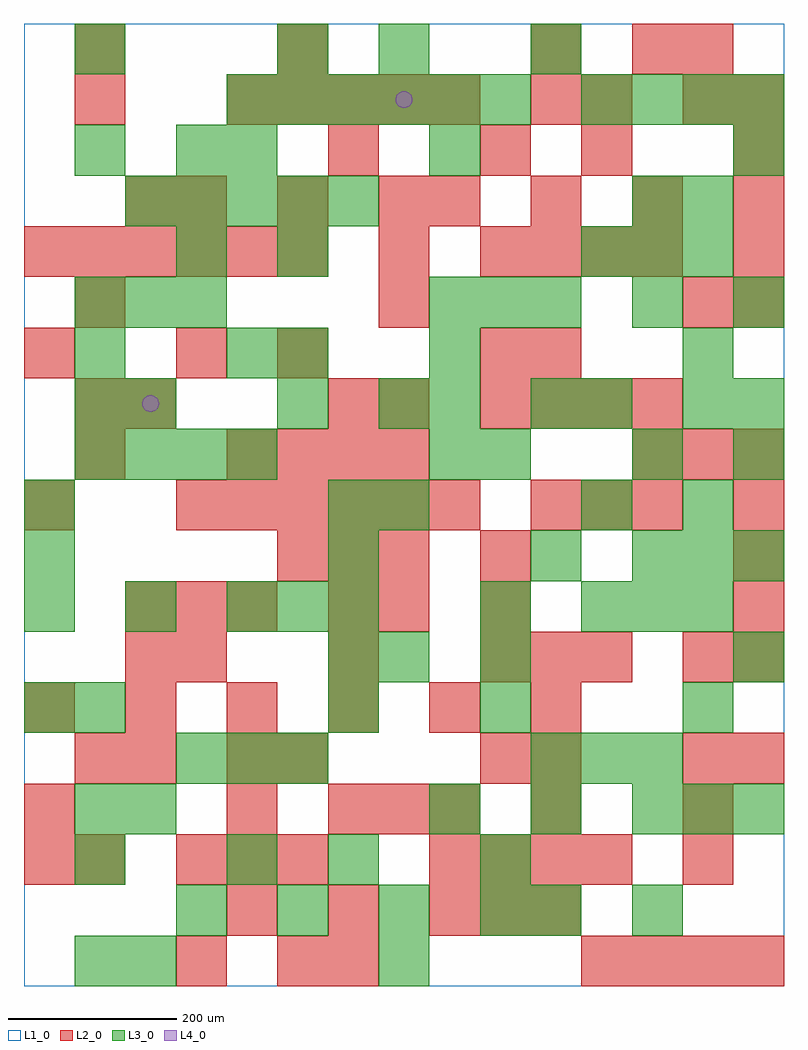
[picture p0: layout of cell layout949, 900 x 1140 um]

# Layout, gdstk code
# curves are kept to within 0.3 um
import gdstk
lib = gdstk.Library(unit=1e-6, precision=1e-09)
def R(c, l, rs):  # rectangles x0, y0, x1, y1
    for r in rs: c.add(gdstk.rectangle(r[:2], r[2:], *l))
def A(c, l, x, y, w, h, nx, ny, dx, dy):  # array of equal rectangles
    R(c, l, [(x+i*dx, y+j*dy, x+i*dx+w, y+j*dy+h) for i in range(nx) for j in range(ny)])
def P(c, l, *ps):  # polygons
    for p in ps: c.add(gdstk.Polygon(p, *l))
L1_0 = (1, 0)
L2_0 = (2, 0)
L3_0 = (3, 0)
L4_0 = (4, 0)

layout949 = lib.new_cell('layout949')
R(layout949, L1_0, [(0,0,900,1140)])
A(layout949, L2_0, 660, 0, 60, 60, 4, 1, 60, 0)
A(layout949, L2_0, 240, 60, 60, 60, 3, 1, 120, 0)
A(layout949, L2_0, 540, 60, 60, 60, 1, 3, 0, 180)
A(layout949, L2_0, 180, 120, 60, 60, 3, 1, 60, 0)
A(layout949, L2_0, 480, 120, 60, 60, 4, 1, 60, 0)
A(layout949, L2_0, 780, 120, 60, 60, 1, 3, 0, 60)
A(layout949, L2_0, 360, 180, 60, 60, 3, 1, 60, 0)
A(layout949, L2_0, 0, 300, 60, 60, 6, 1, 120, 0)
A(layout949, L2_0, 180, 360, 60, 60, 3, 1, 180, 0)
A(layout949, L2_0, 840, 360, 60, 60, 1, 4, 0, 60)
A(layout949, L2_0, 120, 420, 60, 60, 3, 1, 60, 0)
A(layout949, L2_0, 300, 480, 60, 60, 3, 1, 60, 0)
A(layout949, L2_0, 540, 480, 60, 60, 1, 3, 0, 240)
A(layout949, L2_0, 180, 540, 60, 60, 6, 1, 60, 0)
A(layout949, L2_0, 600, 540, 60, 60, 3, 1, 60, 0)
A(layout949, L2_0, 240, 600, 60, 60, 4, 1, 60, 0)
A(layout949, L2_0, 720, 600, 60, 60, 3, 1, 60, 0)
A(layout949, L2_0, 540, 660, 60, 60, 4, 2, 60, 180)
A(layout949, L2_0, 60, 780, 60, 60, 3, 1, 360, 0)
A(layout949, L2_0, 0, 840, 60, 60, 6, 1, 60, 0)
A(layout949, L2_0, 180, 900, 60, 60, 3, 1, 120, 0)
A(layout949, L2_0, 480, 900, 60, 60, 4, 1, 120, 0)
A(layout949, L2_0, 240, 1020, 60, 60, 5, 1, 60, 0)
R(layout949, L2_0, [(180,0,240,60), (300,0,360,60), (360,0,420,60), (600,60,660,120), (0,120,60,180), (60,120,120,180), (0,180,60,240), (240,180,300,240), (600,180,660,240), (60,240,120,300), (120,240,180,300), (240,240,300,300), (300,240,360,300), (600,240,660,300), (840,240,900,300), (120,360,180,420), (600,360,660,420), (660,360,720,420), (780,360,840,420), (360,420,420,480), (420,420,480,480), (0,540,60,600), (60,600,120,660), (60,660,120,720), (120,660,180,720), (360,660,420,720), (420,660,480,720), (0,720,60,780), (180,720,240,780), (300,720,360,780), (600,720,660,780), (840,780,900,840), (420,840,480,900), (840,840,900,900), (120,900,180,960), (360,960,420,1020), (660,960,720,1020), (840,960,900,1020), (60,1020,120,1080), (600,1020,660,1080), (660,1020,720,1080), (780,1020,840,1080), (840,1020,900,1080), (60,1080,120,1140), (300,1080,360,1140), (600,1080,660,1140), (720,1080,780,1140), (780,1080,840,1140)])
A(layout949, L3_0, 180, 60, 60, 60, 4, 1, 120, 0)
A(layout949, L3_0, 480, 180, 60, 60, 3, 1, 120, 0)
A(layout949, L3_0, 180, 240, 60, 60, 3, 1, 60, 0)
A(layout949, L3_0, 600, 240, 60, 60, 3, 1, 60, 0)
A(layout949, L3_0, 360, 300, 60, 60, 1, 5, 0, 60)
A(layout949, L3_0, 540, 300, 60, 60, 1, 3, 0, 60)
A(layout949, L3_0, 0, 420, 60, 60, 3, 1, 120, 0)
A(layout949, L3_0, 660, 420, 60, 60, 3, 2, 60, 420)
A(layout949, L3_0, 720, 480, 60, 60, 3, 1, 60, 0)
A(layout949, L3_0, 60, 600, 60, 60, 4, 1, 60, 0)
A(layout949, L3_0, 480, 600, 60, 60, 1, 3, 0, 60)
A(layout949, L3_0, 60, 780, 60, 60, 3, 1, 60, 0)
A(layout949, L3_0, 480, 780, 60, 60, 3, 1, 60, 0)
A(layout949, L3_0, 120, 900, 60, 60, 5, 1, 60, 0)
A(layout949, L3_0, 240, 1020, 60, 60, 6, 1, 60, 0)
A(layout949, L3_0, 660, 1020, 60, 60, 4, 1, 60, 0)
R(layout949, L3_0, [(60,0,120,60), (120,0,180,60), (420,0,480,60), (600,60,660,120), (720,60,780,120), (60,120,120,180), (240,120,300,180), (360,120,420,180), (540,120,600,180), (60,180,120,240), (120,180,180,240), (780,180,840,240), (840,180,900,240), (0,300,60,360), (60,300,120,360), (780,300,840,360), (420,360,480,420), (840,360,900,420), (300,420,360,480), (0,480,60,540), (600,480,660,540), (0,540,60,600), (420,540,480,600), (660,540,720,600), (780,540,840,600), (540,600,600,660), (720,600,780,660), (840,600,900,660), (60,660,120,720), (120,660,180,720), (300,660,360,720), (420,660,480,720), (600,660,660,720), (660,660,720,720), (780,660,840,720), (840,660,900,720), (60,720,120,780), (240,720,300,780), (300,720,360,780), (780,720,840,780), (720,780,780,840), (840,780,900,840), (180,840,240,900), (300,840,360,900), (720,900,780,960), (780,900,840,960), (60,960,120,1020), (180,960,240,1020), (240,960,300,1020), (480,960,540,1020), (840,960,900,1020), (60,1080,120,1140), (300,1080,360,1140), (420,1080,480,1140), (600,1080,660,1140)])
P(layout949, L4_0, [(160,690),(159.239,693.827),(157.071,697.071),(153.827,699.239),(150,700),(146.173,699.239),(142.929,697.071),(140.761,693.827),(140,690),(140.761,686.173),(142.929,682.929),(146.173,680.761),(150,680),(153.827,680.761),(157.071,682.929),(159.239,686.173)],
  [(460,1050),(459.239,1053.827),(457.071,1057.071),(453.827,1059.239),(450,1060),(446.173,1059.239),(442.929,1057.071),(440.761,1053.827),(440,1050),(440.761,1046.173),(442.929,1042.929),(446.173,1040.761),(450,1040),(453.827,1040.761),(457.071,1042.929),(459.239,1046.173)])

lib.write_gds('layout949.gds')
